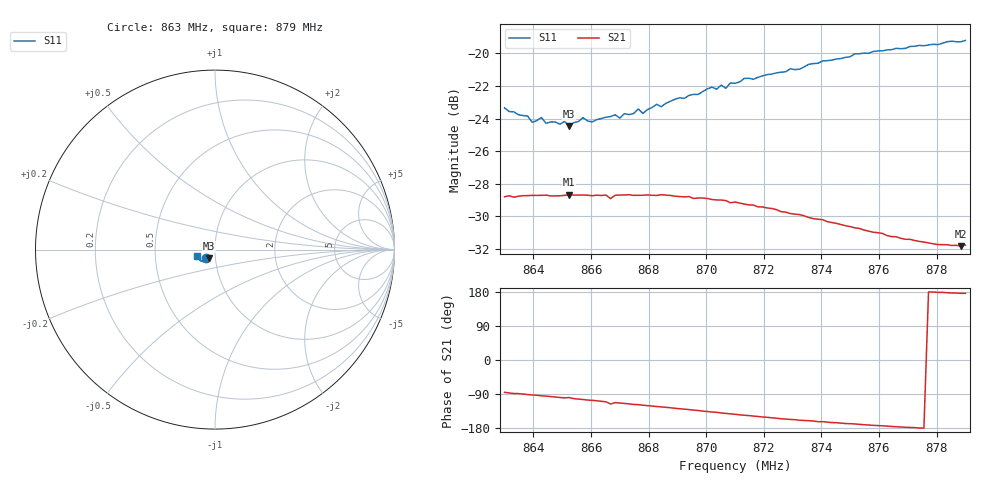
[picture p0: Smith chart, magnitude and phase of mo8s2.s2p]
# HZ S RI R 50
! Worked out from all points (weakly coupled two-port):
!   101 points, 863 MHz to 879 MHz, reference 50 ohm
!   highest |S21| = -28.67 dB at 865.24 MHz (marker M1); lowest = -31.8 dB at 878.84 MHz (marker M2)
!   lowest |S11| = -24.5 dB at 865.24 MHz (marker M3), VSWR 1.13, Z = 46.4 - j4.55 ohm
!   |S11| at or under -10 dB: start of sweep to end of sweep
!   S12 and S22 are empty: the file has one direction only
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8.63e8  -0.0484 -0.0478  0.00295 -0.0362  0 0  0 0
8.638e8  -0.0432 -0.0475  -0.000738 -0.0366  0 0  0 0
8.6396e8  -0.0403 -0.0464  -0.00153 -0.0366  0 0  0 0
8.6428e8  -0.0409 -0.0487  -0.0029 -0.0366  0 0  0 0
8.6444e8  -0.0391 -0.0468  -0.00348 -0.0366  0 0  0 0
8.6508e8  -0.0376 -0.0491  -0.00634 -0.0361  0 0  0 0
8.6524e8  -0.0345 -0.0488  -0.00581 -0.0364  0 0  0 0
8.6572e8  -0.0374 -0.0513  -0.0091 -0.0356  0 0  0 0
8.6604e8  -0.0351 -0.0507  -0.0104 -0.0351  0 0  0 0
8.6684e8  -0.0361 -0.0538  -0.014 -0.0339  0 0  0 0
8.67e8  -0.0349 -0.0528  -0.0147 -0.0337  0 0  0 0
8.6764e8  -0.0361 -0.0571  -0.0171 -0.0324  0 0  0 0
8.678e8  -0.0347 -0.0555  -0.018 -0.032  0 0  0 0
8.6828e8  -0.0359 -0.0598  -0.0199 -0.0308  0 0  0 0
8.6844e8  -0.0352 -0.0589  -0.0204 -0.0306  0 0  0 0
8.702e8  -0.0428 -0.0662  -0.0262 -0.0241  0 0  0 0
8.7068e8  -0.0436 -0.0649  -0.0274 -0.0223  0 0  0 0
8.71e8  -0.0462 -0.0665  -0.028 -0.0209  0 0  0 0
8.7372e8  -0.0632 -0.0684  -0.0294 -0.0101  0 0  0 0
8.7644e8  -0.0851 -0.0576  -0.0273 -0.00218  0 0  0 0
8.7884e8  -0.1013 -0.0391  -0.0255 0.00185  0 0  0 0
8.79e8  -0.1028 -0.0379  -0.0257 0.00177  0 0  0 0
